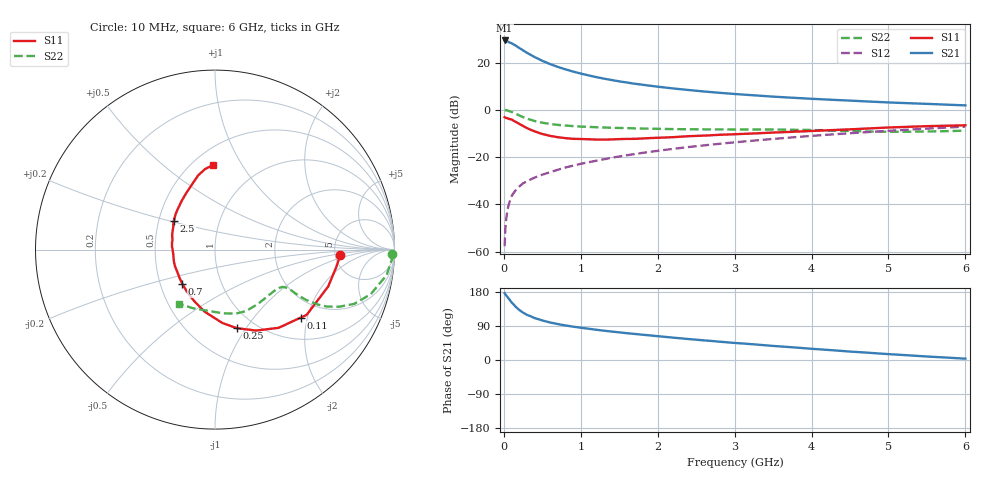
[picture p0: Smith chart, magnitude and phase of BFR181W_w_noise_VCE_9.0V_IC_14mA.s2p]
! (c) 2017  Infineon Technologies AG, Munich
! Infineon Technologies  Discrete & RF Semiconductors
! BFR181W
! VCE =  9.0 V,  IC =  14 mA
! Common Emitter S-Parameters:  Jan 2017
# GHz  S  MA  R  50
!  f  S11  S21  S12  S22
! GHz  MAG  ANG  MAG  ANG  MAG  ANG  MAG  ANG
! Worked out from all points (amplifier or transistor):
!   77 points, 10 MHz to 6 GHz, reference 50 ohm
!   highest |S21| = 29.4 dB at 10 MHz (marker M1)
!   |S21| within 3 dB of that: start of sweep to 192.4 MHz
!   unconditionally stable (mu >= 1): 935.2 MHz to 2.874 GHz
!   at 130 MHz: K = 0.32, MSG = 31.4 dB, |S12| = -35.1 dB
!   at 2.2 GHz: K = 1.04, MAG = 11.5 dB, |S12| = -16.5 dB
!   at 6 GHz: K = 0.85, MSG = 4.5 dB, |S12| = -7.1 dB
!   lowest NFmin = 1.43 dB at 450 MHz
!   S11 on the Smith chart (normalised r, x): 10 MHz: 5.56, -0.66; 110 MHz: 1.51, -1.83; 250 MHz: 0.82, -0.91; 700 MHz: 0.65, -0.27; 2.5 GHz: 0.60, +0.21; 6 GHz: 0.62, +0.76
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0.01  0.6988 -2.5  29.42 176.5  0.0013 100.6  0.989 -1.5
0.02  0.6821 -8.4  28.78 173.2  0.0031 87.9  0.9875 -3.1
0.05  0.6631 -18.1  27.97 165.3  0.0079 78.5  0.9664 -8.5
0.1  0.6268 -35.5  25.72 152.2  0.0148 75.2  0.9034 -15.9
0.11  0.6105 -38.3  25.14 150.2  0.0157 74.0  0.8886 -16.9
0.15  0.5616 -50.9  23.13 141.3  0.0195 70.3  0.8326 -21.3
0.2  0.5059 -63.1  20.44 132.1  0.0238 67.3  0.7617 -24.7
0.25  0.4546 -74.4  18.16 125.0  0.0278 64.8  0.7021 -26.9
0.3  0.4109 -84.3  16.13 119.2  0.0307 63.5  0.6512 -28.1
0.4  0.3504 -99.6  13.1 110.5  0.0368 64.2  0.5805 -28.9
0.5  0.3084 -112.4  10.9 104.3  0.0424 63.6  0.5341 -28.8
0.6  0.2814 -123.8  9.328 99.1  0.0478 65.2  0.5029 -28.5
0.7  0.2636 -133.8  8.12 94.9  0.0537 66.5  0.4804 -28.1
0.9  0.2433 -150.4  6.453 88.0  0.0657 67.8  0.453 -28.1
1.1  0.2386 -163.7  5.361 82.5  0.0777 68.8  0.4357 -28.6
1.5  0.2401 176.0  4.013 73.0  0.1028 69.4  0.4129 -31.6
2.1  0.2596 154.8  2.961 61.0  0.1424 68.2  0.3936 -39.6
2.5  0.2805 144.7  2.537 53.6  0.1698 66.6  0.3872 -46.4
3.1  0.309 131.5  2.11 43.6  0.2124 63.4  0.3831 -56.9
4.1  0.3624 114.5  1.682 28.2  0.2884 56.7  0.3701 -74.4
5.1  0.4282 101.8  1.413 14.3  0.3676 48.4  0.3427 -99.2
6  0.4711 91.5  1.243 3.5  0.4414 40.1  0.3629 -123.9
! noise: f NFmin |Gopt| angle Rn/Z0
0.45  1.43  0.06  16  0.21
0.9  1.48  0.06  32  0.21
1.9  1.92  0.11  -141  0.21
2.4  2.13  0.14  -109  0.27
